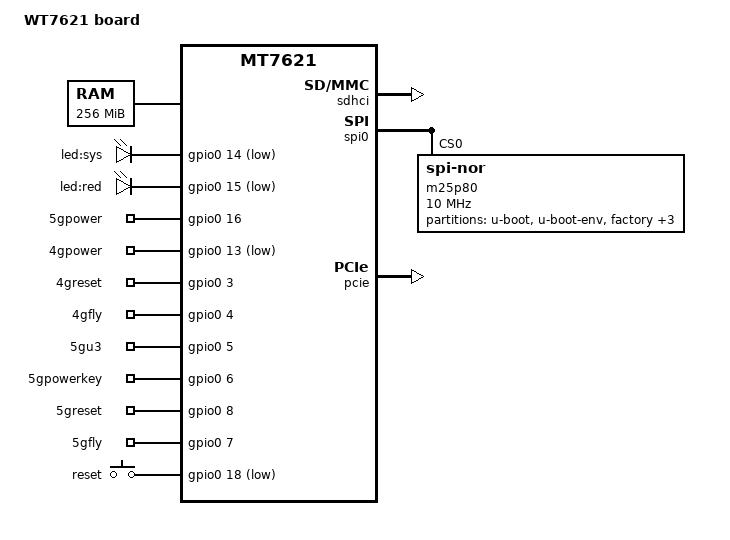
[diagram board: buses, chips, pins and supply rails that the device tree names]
/dts-v1/;

#include "mt7621.dtsi"

#include <dt-bindings/input/input.h>

/ {
	compatible = "wireless-tag,WT7621", "mediatek,mt7621-soc";
	model = "WT7621 board";

	memory@0 {
		device_type = "memory";
		reg = <0x0 0x10000000>;
	};

	chosen {
		bootargs = "console=ttyS0,57600";
	};

	gpio-leds {
		compatible = "gpio-leds";

		sys {
			label = "led:sys";
			gpios = <&gpio0 14 1>;
		};

		red {
			label = "led:red";
			gpios = <&gpio0 15 1>;
		};
	};

	gpio-export {
		compatible = "gpio-export";
		5gpower {
			gpio-export,name = "5gpower";
			gpio-export,output = <0>; // OUT_INIT_LOW
			gpios = <&gpio0 16 0>;    // GPIO 16, ACTIVE_LOW
		};

		4gpower {
			gpio-export,name = "4gpower";
			gpio-export,output = <1>; // OUT_INIT_LOW
			gpios = <&gpio0 13 1>;    // GPIO 13, ACTIVE_LOW
		};

		4greset {
			gpio-export,name = "4greset";
			gpio-export,output = <0>; // OUT_INIT_LOW
			gpios = <&gpio0 3 0>;    // GPIO 3, ACTIVE_LOW
		};

		4gfly {
			gpio-export,name = "4gfly";
			gpio-export,output = <0>; // OUT_INIT_LOW
			gpios = <&gpio0 4 0>;    // GPIO 4, ACTIVE_LOW
		};

		5gu3 {
			gpio-export,name = "5gu3";
			gpio-export,output = <0>; // OUT_INIT_LOW
			gpios = <&gpio0 5 0>;    // GPIO 5, ACTIVE_LOW
		};

		5gpowerkey {
			gpio-export,name = "5gpowerkey";
			gpio-export,output = <0>; // OUT_INIT_LOW
			gpios = <&gpio0 6 0>;    // GPIO 6, ACTIVE_LOW
		};

		5greset {
			gpio-export,name = "5greset";
			gpio-export,output = <0>; // OUT_INIT_LOW
			gpios = <&gpio0 8 0>;    // GPIO 8, ACTIVE_LOW
		};

		5gfly {
			gpio-export,name = "5gfly";
			gpio-export,output = <0>; // OUT_INIT_LOW
			gpios = <&gpio0 7 0>;    // GPIO 7, ACTIVE_LOW
		};
	};

	gpio-keys-polled {
		compatible = "gpio-keys-polled";
		#address-cells = <1>;
		#size-cells = <0>;
		poll-interval = <20>;

		reset {
			label = "reset";
			gpios = <&gpio0 18 1>;
			linux,code = <KEY_RESTART>;
		};
	};
};

&nand {
	status = "disabled";
};

&sdhci {
	status = "ok";
};

&pinctrl {
	state_default: pinctrl0 {
		gpio {
			ralink,group = "wdt", "rgmii2", "jtag", "i2c", "uart3";
			ralink,function = "gpio";
		};
	};
};

&spi0 {
	status = "okay";

	m25p80@0 {
		#address-cells = <1>;
		#size-cells = <1>;
		compatible = "jedec,spi-nor";
		reg = <0>;
		spi-max-frequency = <10000000>;
		m25p,chunked-io = <32>;


		enable-wtpart;

		partition@0 {
			label = "u-boot";
			reg = <0x0 0x30000>;
		};

		partition@30000 {
			label = "u-boot-env";
			reg = <0x30000 0x10000>;
		};

		factory: partition@40000 {
			label = "factory";
			reg = <0x40000 0x10000>;
		};

		wtinfo: partition@fe0000 {
			label = "wtinfo";
			reg = <0xfe0000 0x10000>;
		};

		woem: partition@ff0000 {
			label = "woem";
			reg = <0xff0000 0x10000>;
		};

		partition@50000 {
			label = "firmware";
			reg = <0x50000 0xe90000>;
		};
	};
};

&ethernet {
	mtd-mac-address = <&factory 0x4>;
	mediatek,port-map = "llllw";
};

&pcie {
	status = "okay";

	pcie0 {
		mt76@0,0 {
			reg = <0x0000 0 0 0 0>;
			device_type = "pci";
			mediatek,mtd-eeprom = <&factory 0x8000>;
			mediatek,2ghz = <0>;
		};
	};

	pcie1 {
		mt76@1,0 {
			reg = <0x0000 0 0 0 0>;
			device_type = "pci";
			mediatek,mtd-eeprom = <&factory 0x0000>;
			mediatek,5ghz = <0>;
		};
	};
};
